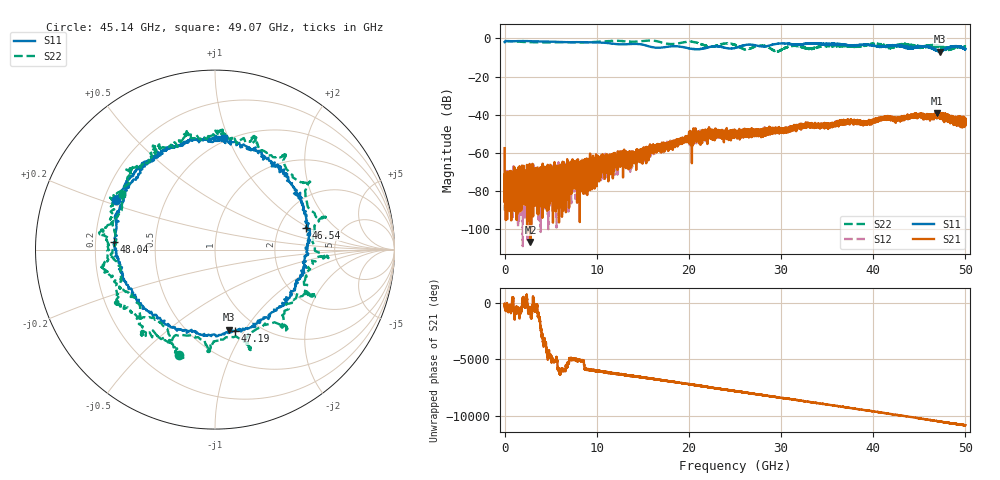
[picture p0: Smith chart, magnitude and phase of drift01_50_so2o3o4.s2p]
!Created with skrf (http://scikit-rf.org).
# Hz S RI R 50.0
!freq ReS11 ImS11 ReS21 ImS21 ReS12 ImS12 ReS22 ImS22
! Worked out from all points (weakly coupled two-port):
!   10001 points, 300 kHz to 50 GHz, reference 50 ohm
!   highest |S21| = -39.00 dB at 46.87 GHz (marker M1); lowest = -106.5 dB at 2.8 GHz (marker M2)
!   lowest |S11| = -6.9 dB at 47.21 GHz (marker M3), VSWR 2.66, Z = 37.9 - j42.6 ohm
!   |S11| at or under -10 dB: nowhere
!   |S22| runs from -6.9 to -1.1 dB; largest |S21 - S12| = 0.0044
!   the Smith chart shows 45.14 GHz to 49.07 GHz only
!   S11 on the Smith chart (normalised r, x): 45.14 GHz: 0.25, +0.22; 46.54 GHz: 2.81, +0.95; 47.19 GHz: 0.78, -0.91; 48.04 GHz: 0.28, +0.03; 49.07 GHz: 0.47, +0.96
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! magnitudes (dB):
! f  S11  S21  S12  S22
! 300 kHz  -2.0  -57.5  -76.4  -1.3
! 255.3 MHz  -1.4  -94.7  -69.4  -1.4
! 2.8 GHz  -1.4  -106.5  -73.9  -2.0
! 4.77 GHz  -1.6  -73.6  -74.1  -2.1
! 8.335 GHz  -2.0  -69.9  -76.8  -2.1
! 16.67 GHz  -4.9  -57.9  -57.8  -1.6
! 22.13 GHz  -4.6  -51.3  -50.0  -4.1
! 25 GHz  -5.0  -50.1  -49.7  -3.4
! 26.17 GHz  -3.4  -49.4  -49.0  -5.8
! 28.13 GHz  -4.3  -49.7  -48.9  -3.9
! 29.5 GHz  -2.8  -47.9  -47.2  -6.6
! 31.31 GHz  -3.1  -47.3  -47.0  -4.0
! 33.34 GHz  -2.6  -46.2  -44.8  -5.7
! 41.67 GHz  -3.9  -41.5  -42.0  -4.6
! 45.14 GHz  -4.2  -40.9  -39.9  -4.2
! 46.54 GHz  -5.7  -40.1  -41.9  -4.0
! 46.87 GHz  -6.1  -39.0  -40.3  -4.3
! 47.19 GHz  -6.6  -39.1  -41.2  -4.6
! 47.21 GHz  -6.9  -39.2  -40.6  -4.9
! 48.04 GHz  -5.0  -40.8  -41.4  -6.2
! 49.07 GHz  -4.1  -42.2  -43.7  -4.4
! 50 GHz  -5.7  -45.4  -43.1  -4.2
